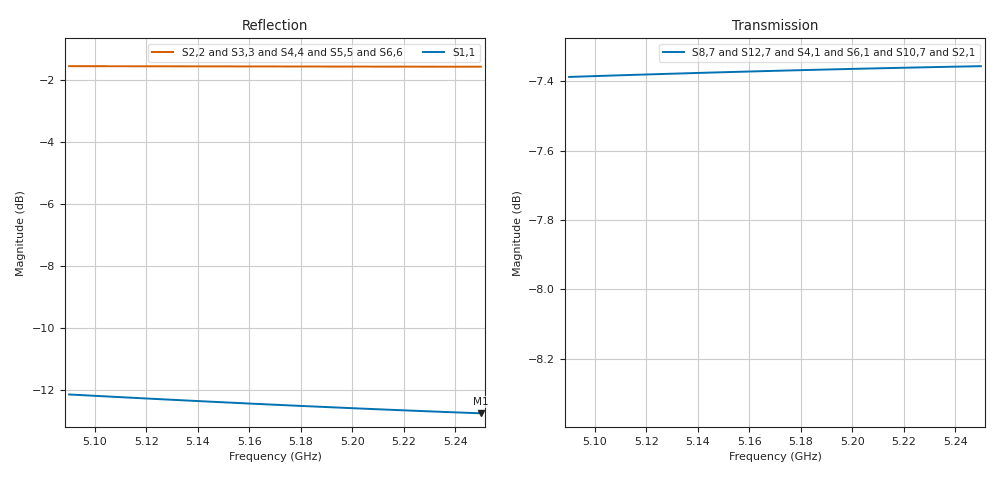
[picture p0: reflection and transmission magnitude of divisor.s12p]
! Touchstone file exported from HFSS 2024.2.0
!  File:  D:/dev/EMBRAER/P1H/R03_Estudo/ZYF255DA/compacta/1x5/Compacta_ZYF255DA_1x5.aedt
!  Generated:  11:16:44 PM Nov  6, 2026
!  Design:  Duplo_radial
!  Project:  Compacta_ZYF255DA_1x5
!  Setup:  Divisor
!  Solution:  Banda
# GHz S RI R 50.000000
! Terminal data exported
! Port[1] = A_IN
! Port[2] = A1
! Port[3] = A2
! Port[4] = A3
! Port[5] = A4
! Port[6] = A5
! Port[7] = B_IN
! Port[8] = B1
! Port[9] = B2
! Port[10] = B3
! Port[11] = B4
! Port[12] = B5
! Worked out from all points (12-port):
!   17 points, 5.09 GHz to 5.25 GHz, reference 50 ohm
!   strongest paths, dB at 5.09 GHz, 5.13 GHz, 5.17 GHz, 5.21 GHz, 5.25 GHz:
!     S8,7: -7.4, -7.4, -7.4, -7.4, -7.4
!     S12,7: -7.4, -7.4, -7.4, -7.4, -7.4
!     S4,1: -7.4, -7.4, -7.4, -7.4, -7.4
!     S6,1: -7.4, -7.4, -7.4, -7.4, -7.4
!     S10,7: -7.4, -7.4, -7.4, -7.4, -7.4
!     S2,1: -7.4, -7.4, -7.4, -7.4, -7.4
!   lowest |S11| = -12.8 dB at 5.25 GHz (marker M1), VSWR 1.60, Z = 68.3 - j20.7 ohm
!   |S11| at or under -10 dB: start of sweep to end of sweep
